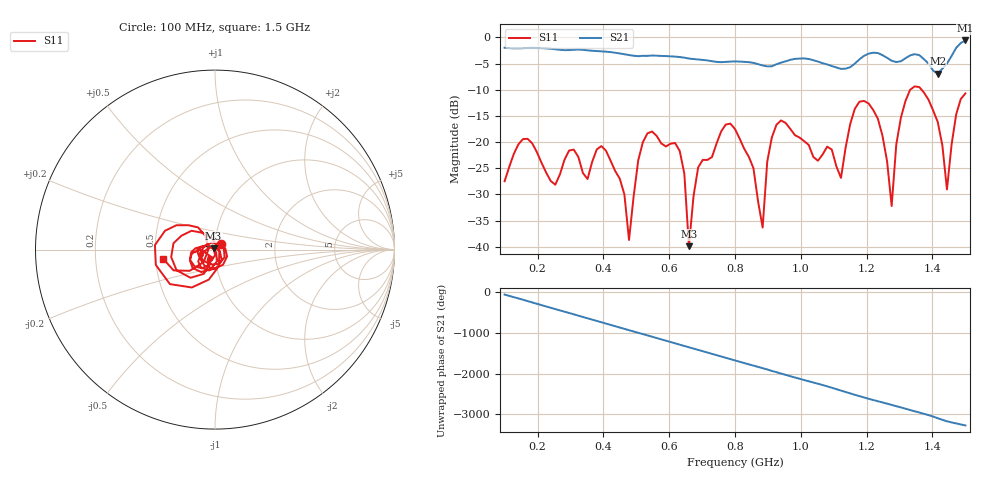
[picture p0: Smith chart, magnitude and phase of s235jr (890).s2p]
! NanoVNA-App
! Date: 2025-09-25 15:11:06
! Start: 100MHz Stop: 1,5GHz Points: 101
! S-Parameter data: F S11 S21 S12 S22
# Hz S RI R 50
!  Frequency  S11_Real  S11_Imag  S21_Real  S21_Imag  S12_Real  S12_Imag  S22_Real  S22_Imag
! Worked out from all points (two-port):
!   101 points, 100 MHz to 1.5 GHz, reference 50 ohm
!   highest |S21| = -0.58 dB at 1.5 GHz (marker M1); lowest = -6.9 dB at 1.416 GHz (marker M2)
!   |S21| within 3 dB of the highest: start of sweep to 504.7 MHz; 507.4 MHz to 594.2 MHz (86.75 MHz wide, 15.8 % of centre) (the widest 2 of 5)
!   lowest |S11| = -39.9 dB at 660 MHz (marker M3), VSWR 1.02, Z = 49.2 + j0.605 ohm
!   |S11| at or under -10 dB: start of sweep to 1.332 GHz; 1.367 GHz to end of sweep
!   S12 and S22 are empty: the file has one direction only
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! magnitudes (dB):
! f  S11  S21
! 100 MHz  -27.5  -2.0
! 156 MHz  -19.4  -2.0
! 338 MHz  -25.9  -2.4
! 408 MHz  -21.6  -2.7
! 478 MHz  -38.7  -3.4
! 520 MHz  -20.0  -3.5
! 576 MHz  -20.2  -3.5
! 632 MHz  -21.7  -3.7
! 660 MHz  -39.9  -4.0
! 688 MHz  -24.8  -4.2
! 800 MHz  -17.5  -4.6
! 884 MHz  -36.3  -5.4
! 926 MHz  -16.7  -5.1
! 1.038 GHz  -22.8  -4.3
! 1.122 GHz  -26.8  -6.0
! 1.206 GHz  -12.6  -3.1
! 1.276 GHz  -32.2  -4.5
! 1.29 GHz  -20.5  -4.7
! 1.332 GHz  -10.0  -3.4
! 1.416 GHz  -16.1  -6.9
! 1.444 GHz  -29.0  -5.0
! 1.5 GHz  -10.7  -0.6
